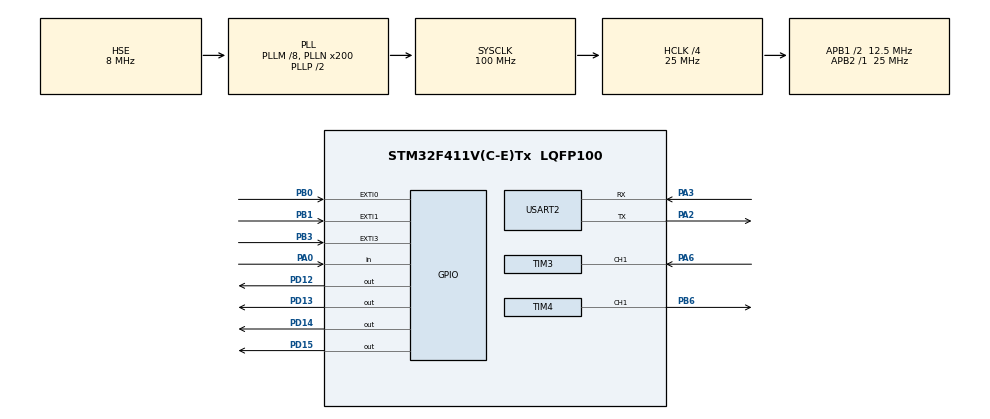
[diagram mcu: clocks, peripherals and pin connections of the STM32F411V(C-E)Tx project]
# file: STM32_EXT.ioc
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Mcu.Family=STM32F4
Mcu.Name=STM32F411V(C-E)Tx
Mcu.Package=LQFP100
NVIC.EXTI0_IRQn=true\:0\:0\:false\:false\:true\:true\:true\:true
NVIC.EXTI1_IRQn=true\:0\:0\:false\:false\:true\:true\:true\:true
NVIC.EXTI3_IRQn=true\:0\:0\:false\:false\:true\:true\:true\:true
NVIC.PriorityGroup=NVIC_PRIORITYGROUP_4
NVIC.TIM2_IRQn=true\:0\:0\:false\:false\:true\:true\:true\:true
NVIC.TIM3_IRQn=true\:0\:0\:false\:false\:true\:true\:true\:true
NVIC.TIM4_IRQn=true\:0\:0\:false\:false\:true\:true\:true\:true
NVIC.USART2_IRQn=true\:0\:0\:false\:false\:true\:true\:true\:true
PA0-WKUP.Signal=GPIO_Input
PA2.Mode=Asynchronous
PA2.Signal=USART2_TX
PA3.Mode=Asynchronous
PA3.Signal=USART2_RX
PA6.Signal=S_TIM3_CH1
PB0.GPIO_ModeDefaultEXTI=GPIO_MODE_IT_RISING_FALLING
PB0.GPIO_PuPd=GPIO_PULLDOWN
PB0.Signal=GPXTI0
PB1.GPIO_ModeDefaultEXTI=GPIO_MODE_IT_RISING_FALLING
PB1.GPIO_PuPd=GPIO_PULLUP
PB1.Signal=GPXTI1
PB3.GPIO_ModeDefaultEXTI=GPIO_MODE_IT_RISING_FALLING
PB3.GPIO_PuPd=GPIO_PULLUP
PB3.Signal=GPXTI3
PB6.Signal=S_TIM4_CH1
PD12.Signal=GPIO_Output
PD13.Signal=GPIO_Output
PD14.Signal=GPIO_Output
PD15.Signal=GPIO_Output
PH0\ -\ OSC_IN.Mode=HSE-External-Oscillator
PH0\ -\ OSC_IN.Signal=RCC_OSC_IN
PH1\ -\ OSC_OUT.Mode=HSE-External-Oscillator
PH1\ -\ OSC_OUT.Signal=RCC_OSC_OUT
ProjectManager.HeapSize=0x200
ProjectManager.StackSize=0x400
ProjectManager.TargetToolchain=STM32CubeIDE
RCC.48MHZClocksFreq_Value=50000000
RCC.AHBCLKDivider=RCC_SYSCLK_DIV4
RCC.AHBFreq_Value=25000000
RCC.APB1CLKDivider=RCC_HCLK_DIV2
RCC.APB1Freq_Value=12500000
RCC.APB1TimFreq_Value=25000000
RCC.APB2Freq_Value=25000000
RCC.APB2TimFreq_Value=25000000
RCC.CortexFreq_Value=25000000
RCC.HCLKFreq_Value=25000000
RCC.HSE_VALUE=8000000
RCC.HSI_VALUE=16000000
RCC.LSE_VALUE=32768
RCC.PLLM=8
RCC.PLLN=200
RCC.PLLSourceVirtual=RCC_PLLSOURCE_HSE
RCC.SYSCLKFreq_VALUE=100000000
RCC.SYSCLKSource=RCC_SYSCLKSOURCE_PLLCLK
RCC.VCOOutputFreq_Value=200000000
SH.S_TIM3_CH1.0=TIM3_CH1,Input_Capture1_from_TI1
SH.S_TIM4_CH1.0=TIM4_CH1,Output Compare1 CH1
TIM2.AutoReloadPreload=TIM_AUTORELOAD_PRELOAD_ENABLE
TIM2.Period=500
TIM2.Prescaler=8000
TIM3.AutoReloadPreload=TIM_AUTORELOAD_PRELOAD_ENABLE
TIM3.Channel-Input_Capture1_from_TI1=TIM_CHANNEL_1
TIM3.ICPolarity_CH1=TIM_INPUTCHANNELPOLARITY_RISING
TIM3.Period=50000
TIM3.Prescaler=50000
TIM4.AutoReloadPreload=TIM_AUTORELOAD_PRELOAD_ENABLE
TIM4.Channel-Output\ Compare1\ CH1=TIM_CHANNEL_1
TIM4.OC1Preload=DISABLE
TIM4.OCMode_1=TIM_OCMODE_TOGGLE
TIM4.Period=50000
TIM4.Prescaler=50000
TIM4.Pulse-Output\ Compare1\ CH1=24
USART2.VirtualMode=VM_ASYNC
VP_TIM2_VS_ClockSourceINT.Mode=Internal
VP_TIM3_VS_ClockSourceINT.Mode=Internal
VP_TIM4_VS_ClockSourceINT.Mode=Internal
board=custom

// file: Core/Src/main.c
/* USER CODE BEGIN Header */
/**
  ******************************************************************************
  * @file           : main.c
  * @brief          : Main program body
  ******************************************************************************
  * @attention
  *
  * Copyright (c) 2023 STMicroelectronics.
  * All rights reserved.
  *
  * This software is licensed under terms that can be found in the LICENSE file
  * in the root directory of this software component.
  * If no LICENSE file comes with this software, it is provided AS-IS.
  *
  ******************************************************************************
  */
/* USER CODE END Header */
#include "main.h"
#include "tim.h"
#include "usart.h"
#include "gpio.h"

/* USER CODE BEGIN Includes */
#include <stdio.h>
/* USER CODE END Includes */

/* USER CODE BEGIN PD */
#ifdef __GNUC__
#define PUTCHAR_PROTOTYPE int __io_putchar(int ch)
#else
#define PUTCHAR_PROTOTYPE int fputc(int ch, FILE *f)
#endif

PUTCHAR_PROTOTYPE
{
  HAL_UART_Transmit(&huart2, (uint8_t *)&ch, 1, HAL_MAX_DELAY);
  return ch;
}

/* LED DECLARATION */
#define LED_PORT 	GPIOD
#define LED_GREEN 	GPIO_PIN_12
#define LED_ORANGE 	GPIO_PIN_13
#define LED_RED 	GPIO_PIN_14
#define LED_BLUE	GPIO_PIN_15
/* BUTTON DECLARATION*/
#define BUTTON_PORT GPIOA
#define BUTTON_PIN  GPIO_PIN_0
/* USER CODE END PD */

/* USER CODE BEGIN PV */
uint8_t is_first_captured = 0;
uint32_t IC_value_fstCaptured  = 0;
uint32_t IC_value_sndCaptured = 0;
/* USER CODE END PV */

void SystemClock_Config(void);
/* USER CODE BEGIN PFP */
void HAL_GPIO_EXTI_Callback(uint16_t GPIO_Pin)
{
	if(GPIO_Pin == GPIO_PIN_0)
	{
//		printf("\nnoise: %d", i);
		HAL_GPIO_TogglePin(LED_PORT, LED_GREEN);
//		HAL_Delay(1);
	}
	else if ( GPIO_Pin == GPIO_PIN_1)
	{
//		printf("\nnoise: %d", i);
		HAL_GPIO_TogglePin(LED_PORT, LED_ORANGE);
//		HAL_Delay(1);
	}
	else if(GPIO_Pin == GPIO_PIN_3)
	{
//		printf("\nnoise: %d", i);
		HAL_GPIO_TogglePin(LED_PORT, LED_RED);
//		HAL_Delay(1);
	}

}

void HAL_TIM_PeriodElapsedCallback(TIM_HandleTypeDef *htim)
{
	if(htim == &htim2)
	{
		 printf("\n Timer2: %d", TIM2->CNT);
		HAL_GPIO_TogglePin(LED_PORT, LED_BLUE);
	}
}
void HAL_TIM_IC_CaptureCallback(TIM_HandleTypeDef *htim)
{
//	if (htim == &htim3)
//	{
//	if(htim->Instance ==TIM3)
//	{
		printf("\n Timer3: %d", TIM3->CNT);
		HAL_GPIO_TogglePin(LED_PORT, LED_ORANGE);
		if( is_first_captured ==0 )

		{
			IC_value_fstCaptured  = HAL_TIM_ReadCapturedValue(htim, TIM_CHANNEL_1);
			is_first_captured = 1;
		}
		else if(is_first_captured ==1)
		{
			IC_value_sndCaptured = HAL_TIM_ReadCapturedValue(htim, TIM_CHANNEL_1);
			__HAL_TIM_SET_COUNTER(htim, 0);
			if(IC_value_sndCaptured>IC_value_fstCaptured)
			{
				uint32_t interval_time = IC_value_fstCaptured - IC_value_sndCaptured;
				printf("\n interval time between two event: %d", interval_time);
			}
			is_first_captured = 0;
		}
//	}
//	}
}
void HAL_TIM_OC_DelayElapsedCallback(TIM_HandleTypeDef *htim)
{
	if(htim->Instance == TIM4)
	{
		  printf("\n Timer4: %d", TIM4->CNT);
		uint32_t capture = HAL_TIM_ReadCapturedValue(htim, TIM_CHANNEL_1);
		HAL_GPIO_TogglePin(LED_PORT, LED_RED);
		__HAL_TIM_SetCompare(htim, TIM_CHANNEL_1, (capture+100));
		__HAL_TIM_SET_COUNTER(htim, 0);
	}
}

/* USER CODE END PFP */

int main(void)
{

  /* MCU Configuration--------------------------------------------------------*/

  /* Reset of all peripherals, Initializes the Flash interface and the Systick. */
  HAL_Init();

  /* Configure the system clock */
  SystemClock_Config();

  /* Initialize all configured peripherals */
  MX_GPIO_Init();
  MX_USART2_UART_Init();
  MX_TIM2_Init();
  MX_TIM3_Init();
  MX_TIM4_Init();
  /* USER CODE BEGIN 2 */
  HAL_TIM_Base_Start_IT(&htim2);
  HAL_TIM_IC_Start_IT(&htim3, TIM_CHANNEL_1);
  HAL_TIM_OC_Start_IT(&htim4, TIM_CHANNEL_1);

  /* USER CODE END 2 */

  /* Infinite loop */
  while (1)
  {

    /* USER CODE BEGIN 3 */
//	  uint8_t status = HAL_GPIO_ReadPin(BUTTON_PORT,BUTTON_PIN);
//	 	 printf("\n status: %d", status);
//	  HAL_GPIO_WritePin(LED_PORT, LED_GREEN, status);
//	  printf("\n Timer2: %d", TIM2->CNT);
//	  printf("\n Timer3: %d", TIM3->CNT);

  }
  /* USER CODE END 3 */
}

void SystemClock_Config(void)
{
  RCC_OscInitTypeDef RCC_OscInitStruct = {0};
  RCC_ClkInitTypeDef RCC_ClkInitStruct = {0};

  /** Configure the main internal regulator output voltage
  */
  __HAL_RCC_PWR_CLK_ENABLE();
  __HAL_PWR_VOLTAGESCALING_CONFIG(PWR_REGULATOR_VOLTAGE_SCALE1);

  /** Initializes the RCC Oscillators according to the specified parameters
  * in the RCC_OscInitTypeDef structure.
  */
  RCC_OscInitStruct.OscillatorType = RCC_OSCILLATORTYPE_HSE;
  RCC_OscInitStruct.HSEState = RCC_HSE_ON;
  RCC_OscInitStruct.PLL.PLLState = RCC_PLL_ON;
  RCC_OscInitStruct.PLL.PLLSource = RCC_PLLSOURCE_HSE;
  RCC_OscInitStruct.PLL.PLLM = 8;
  RCC_OscInitStruct.PLL.PLLN = 200;
  RCC_OscInitStruct.PLL.PLLP = RCC_PLLP_DIV2;
  RCC_OscInitStruct.PLL.PLLQ = 4;
  if (HAL_RCC_OscConfig(&RCC_OscInitStruct) != HAL_OK)
  {
    Error_Handler();
  }

  /** Initializes the CPU, AHB and APB buses clocks
  */
  RCC_ClkInitStruct.ClockType = RCC_CLOCKTYPE_HCLK|RCC_CLOCKTYPE_SYSCLK
                              |RCC_CLOCKTYPE_PCLK1|RCC_CLOCKTYPE_PCLK2;
  RCC_ClkInitStruct.SYSCLKSource = RCC_SYSCLKSOURCE_PLLCLK;
  RCC_ClkInitStruct.AHBCLKDivider = RCC_SYSCLK_DIV4;
  RCC_ClkInitStruct.APB1CLKDivider = RCC_HCLK_DIV2;
  RCC_ClkInitStruct.APB2CLKDivider = RCC_HCLK_DIV1;

  if (HAL_RCC_ClockConfig(&RCC_ClkInitStruct, FLASH_LATENCY_0) != HAL_OK)
  {
    Error_Handler();
  }
}

void Error_Handler(void)
{
  __disable_irq();
  while (1)
  {
  }
}
